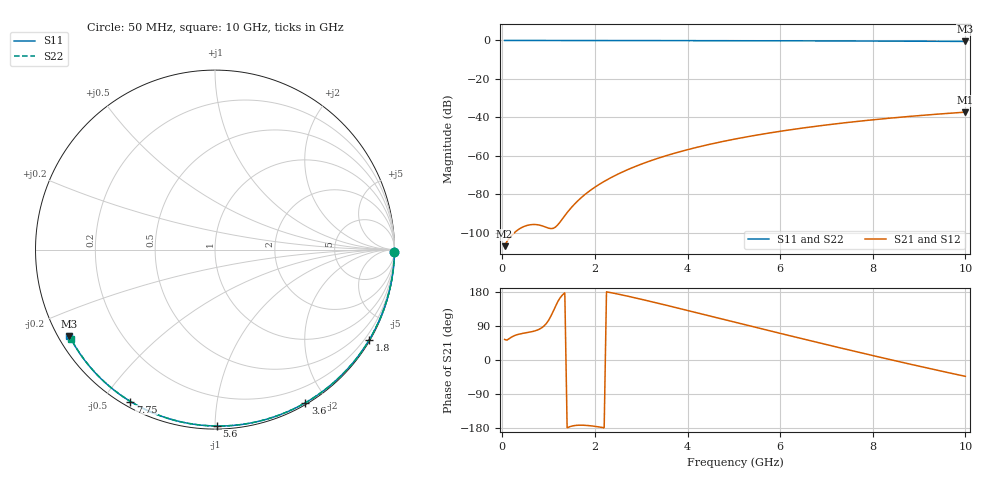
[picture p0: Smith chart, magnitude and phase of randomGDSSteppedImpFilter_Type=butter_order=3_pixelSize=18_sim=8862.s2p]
! freq	dB(S11)	phase(S11)	dB(S12)	phase(S12)
!  dB(S21)	phase(S21)	dB(S22)	phase(S22)
!S-par simulation data
#  GHz  S  DB  R 50
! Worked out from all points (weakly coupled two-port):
!   200 points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, 50 MHz to 10 GHz, reference 50 ohm
!   highest |S21| = -37.22 dB at 10 GHz (marker M1); lowest = -106.8 dB at 50 MHz (marker M2)
!   lowest |S11| = -0.5 dB at 10 GHz (marker M3), VSWR 34.31, Z = 1.57 - j13.7 ohm
!   |S11| at or under -10 dB: nowhere
!   |S22| runs from -0.5 to 0.0 dB; largest |S21 - S12| = 0
!   S11 on the Smith chart (normalised r, x): 50 MHz: open; 1.8 GHz: 0.03, -3.67; 3.6 GHz: 0.02, -1.75; 5.6 GHz: 0.02, -1.01; 7.75 GHz: 0.02, -0.59; 10 GHz: 0.03, -0.27
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0.05  -0.00 -0.9  -106.84 54.2  -106.84 54.2  -0.00 -0.9
0.45  -0.01 -7.7  -96.82 70.5  -96.82 70.5  -0.01 -7.7
0.9  -0.02 -15.4  -96.60 89.7  -96.60 89.7  -0.02 -15.3
1.3  -0.03 -22.1  -92.59 171.8  -92.59 171.8  -0.03 -22.0
1.75  -0.04 -29.7  -80.71 -172.1  -80.71 -172.1  -0.04 -29.4
1.8  -0.04 -30.5  -79.72 -172.5  -79.72 -172.5  -0.04 -30.3
1.95  -0.04 -33.0  -77.02 -174.2  -77.02 -174.2  -0.04 -32.7
2.1  -0.05 -35.4  -74.65 -176.9  -74.65 -176.9  -0.04 -35.2
2.3  -0.05 -38.7  -71.85 178.8  -71.85 178.8  -0.05 -38.4
2.5  -0.05 -42.0  -69.39 173.9  -69.39 173.9  -0.05 -41.7
2.9  -0.06 -48.4  -65.18 163.1  -65.18 163.1  -0.06 -48.1
3.4  -0.07 -56.3  -60.89 148.7  -60.89 148.7  -0.07 -55.9
3.6  -0.08 -59.5  -59.40 142.7  -59.40 142.7  -0.08 -59.0
4.3  -0.10 -70.2  -54.93 121.6  -54.93 121.6  -0.10 -69.7
5.05  -0.13 -81.4  -51.08 98.9  -51.08 98.9  -0.12 -80.8
5.6  -0.15 -89.3  -48.71 82.3  -48.71 82.3  -0.15 -88.7
6.15  -0.17 -97.1  -46.63 65.8  -46.63 65.8  -0.17 -96.5
6.7  -0.20 -104.8  -44.80 49.5  -44.80 49.5  -0.20 -104.1
7.75  -0.28 -119.1  -41.83 18.9  -41.83 18.9  -0.28 -118.2
8.35  -0.33 -127.1  -40.40 1.8  -40.40 1.8  -0.33 -126.2
9.2  -0.41 -138.5  -38.64 -21.8  -38.64 -21.8  -0.41 -137.5
10  -0.51 -149.3  -37.22 -43.2  -37.22 -43.2  -0.51 -148.1
